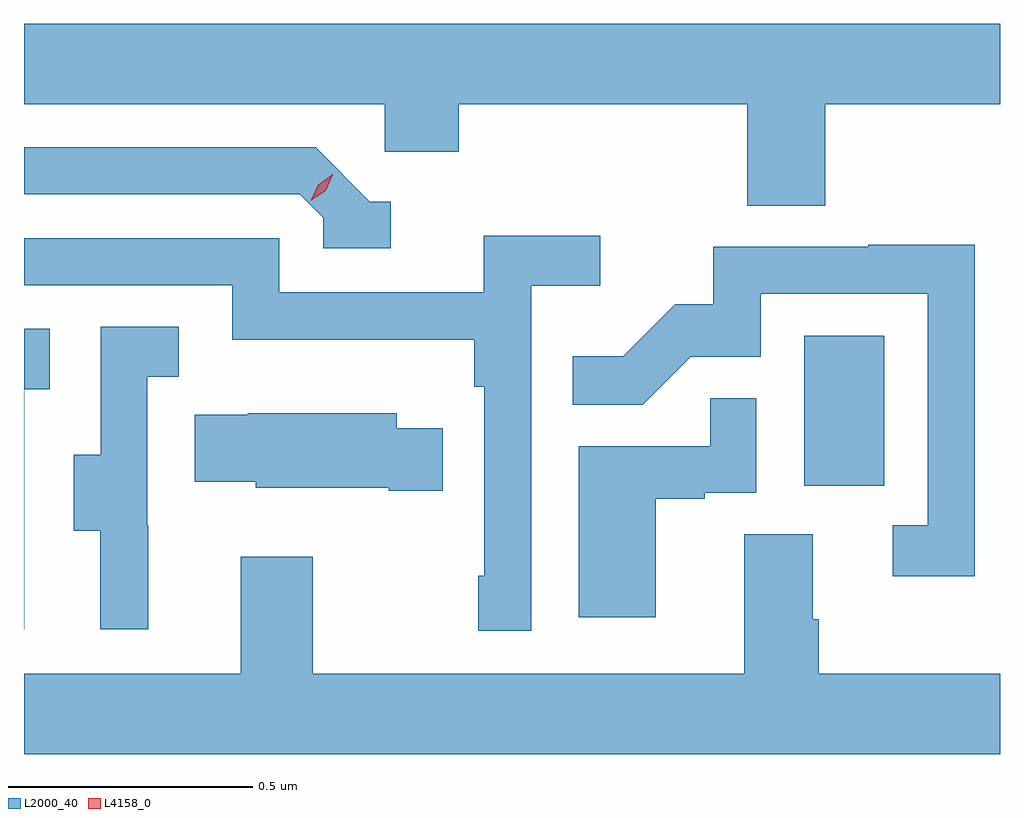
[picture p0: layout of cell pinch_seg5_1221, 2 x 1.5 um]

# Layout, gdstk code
import gdstk
lib = gdstk.Library(unit=1e-6, precision=1e-09)
def R(c, l, rs):  # rectangles x0, y0, x1, y1
    for r in rs: c.add(gdstk.rectangle(r[:2], r[2:], *l))
def P(c, l, *ps):  # polygons
    for p in ps: c.add(gdstk.Polygon(p, *l))
L2000_40 = (2000, 40)
L4158_0 = (4158, 0)

pinch_seg5_1221 = lib.new_cell('pinch_seg5_1221')
R(pinch_seg5_1221, L2000_40, [(880.424,841.326,880.588,841.633)])
P(pinch_seg5_1221, L2000_40, [(880.467,842.108),(880.825,842.108),(880.825,842.272),(878.825,842.272),(878.825,842.108),(879.564,842.108),(879.564,842.01),(879.716,842.01),(879.716,842.108),(880.307,842.108),(880.307,841.9),(880.467,841.9)],
  [(879.577,841.908),(879.534,841.908),(879.423,842.019),(878.825,842.019),(878.825,841.923),(879.39,841.923),(879.438,841.875),(879.438,841.812),(879.577,841.812)],
  [(879.864,841.736),(880.006,841.736),(880.006,841.838),(879.767,841.838),(879.767,841.722),(879.348,841.722),(879.348,841.833),(878.825,841.833),(878.825,841.737),(879.252,841.737),(879.252,841.625),(879.748,841.625),(879.748,841.529),(879.768,841.529),(879.768,841.141),(879.756,841.141),(879.756,841.029),(879.864,841.029)],
  [(880.773,841.82),(880.555,841.82),(880.555,841.815),(880.237,841.815),(880.237,841.698),(880.16,841.698),(880.053,841.591),(879.949,841.591),(879.949,841.492),(880.093,841.492),(880.191,841.59),(880.335,841.59),(880.335,841.719),(880.677,841.719),(880.677,841.245),(880.605,841.245),(880.605,841.14),(880.773,841.14)],
  [(879.08,841.245),(879.078,841.245),(879.078,841.549),(879.142,841.549),(879.142,841.652),(878.982,841.652),(878.982,841.389),(878.927,841.389),(878.927,841.234),(878.981,841.234),(878.981,841.032),(879.08,841.032)],
  [(878.826,841.523),(878.878,841.523),(878.878,841.647),(878.825,841.647),(878.825,841.032),(878.826,841.032)],
  [(880.12,841.299),(880.22,841.299),(880.22,841.311),(880.326,841.311),(880.326,841.505),(880.231,841.505),(880.231,841.407),(879.962,841.407),(879.962,841.056),(880.12,841.056)],
  [(879.683,841.444),(879.589,841.444),(879.589,841.474),(879.283,841.474),(879.283,841.471),(879.175,841.471),(879.175,841.334),(879.3,841.334),(879.3,841.322),(879.572,841.322),(879.572,841.315),(879.683,841.315)],
  [(880.825,840.94),(880.454,840.94),(880.454,841.052),(880.441,841.052),(880.441,841.226),(880.301,841.226),(880.301,840.94),(879.417,840.94),(879.417,841.18),(879.269,841.18),(879.269,840.94),(878.825,840.94),(878.825,840.776),(880.825,840.776)])
P(pinch_seg5_1221, L4158_0, [(879.413,841.91),(879.413,841.91),(879.428,841.943),(879.458,841.964),(879.458,841.964),(879.458,841.963),(879.443,841.93),(879.413,841.91)])

lib.write_gds('pinch_seg5_1221.gds')
